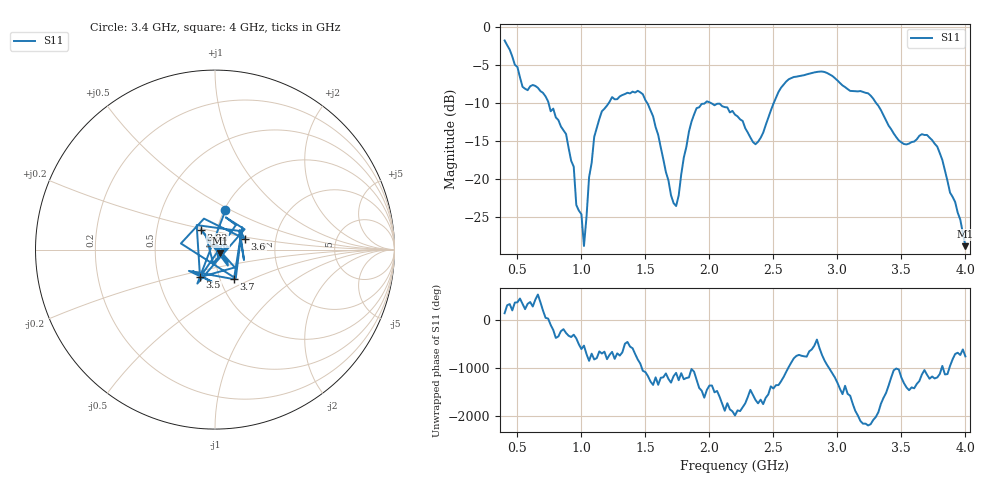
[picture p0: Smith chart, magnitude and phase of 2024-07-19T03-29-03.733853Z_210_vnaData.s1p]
!Created with skrf (http://scikit-rf.org).
# Hz S RI R 50.0
!freq ReS11 ImS11
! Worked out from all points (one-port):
!   181 points, 400 MHz to 4 GHz, reference 50 ohm
!   lowest |S11| = -28.8 dB at 4 GHz (marker M1), VSWR 1.08, Z = 53 - j2.28 ohm
!   |S11| at or under -10 dB: 743.5 MHz to 1.213 GHz (469.2 MHz wide, 48 % of centre); 2.014 GHz to 2.502 GHz (487.5 MHz wide, 21.6 % of centre); 3.304 GHz to end of sweep (the widest 3 of 4)
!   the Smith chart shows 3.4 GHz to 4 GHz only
!   S11 on the Smith chart (normalised r, x): 3.4 GHz: 1.02, +0.47; 3.5 GHz: 0.81, -0.26; 3.6 GHz: 1.39, +0.17; 3.7 GHz: 1.16, -0.40; 3.82 GHz: 0.84, +0.19; 4 GHz: 1.06, -0.05
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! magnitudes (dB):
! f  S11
! 400 MHz  -1.8
! 540 MHz  -7.8
! 700 MHz  -8.6
! 860 MHz  -13.5
! 940 MHz  -18.3
! 960 MHz  -23.4
! 1 GHz  -24.6
! 1.02 GHz  -28.8
! 1.06 GHz  -19.7
! 1.1 GHz  -14.4
! 1.3 GHz  -9.1
! 1.48 GHz  -8.8
! 1.56 GHz  -11.7
! 1.72 GHz  -23.1
! 1.76 GHz  -22.1
! 1.84 GHz  -13.7
! 1.9 GHz  -10.6
! 2.2 GHz  -11.5
! 2.36 GHz  -15.4
! 2.66 GHz  -6.6
! 3.1 GHz  -8.4
! 3.4 GHz  -12.9
! 3.5 GHz  -15.1
! 3.56 GHz  -15.3
! 3.6 GHz  -15.0
! 3.7 GHz  -14.2
! 3.82 GHz  -17.5
! 4 GHz  -28.8
